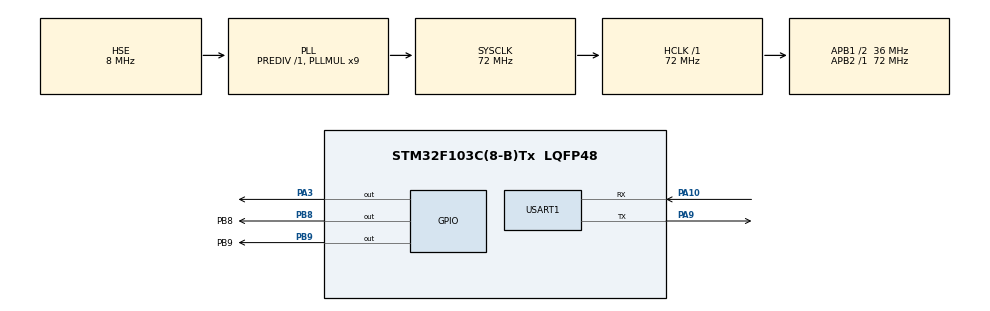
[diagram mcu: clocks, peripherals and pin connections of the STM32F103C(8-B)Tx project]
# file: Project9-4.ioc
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Mcu.Family=STM32F1
Mcu.Name=STM32F103C(8-B)Tx
Mcu.Package=LQFP48
NVIC.PriorityGroup=NVIC_PRIORITYGROUP_4
PA10.Mode=Asynchronous
PA10.Signal=USART1_RX
PA13.Mode=Serial_Wire
PA13.Signal=SYS_JTMS-SWDIO
PA14.Mode=Serial_Wire
PA14.Signal=SYS_JTCK-SWCLK
PA3.GPIO_Speed=GPIO_SPEED_FREQ_HIGH
PA3.Signal=GPIO_Output
PA9.Mode=Asynchronous
PA9.Signal=USART1_TX
PB8.GPIO_Label=PB8
PB8.Signal=GPIO_Output
PB9.GPIO_Label=PB9
PB9.Signal=GPIO_Output
PC14-OSC32_IN.Mode=LSE-External-Oscillator
PC14-OSC32_IN.Signal=RCC_OSC32_IN
PC15-OSC32_OUT.Mode=LSE-External-Oscillator
PC15-OSC32_OUT.Signal=RCC_OSC32_OUT
PD0-OSC_IN.Mode=HSE-External-Oscillator
PD0-OSC_IN.Signal=RCC_OSC_IN
PD1-OSC_OUT.Mode=HSE-External-Oscillator
PD1-OSC_OUT.Signal=RCC_OSC_OUT
ProjectManager.HeapSize=0x200
ProjectManager.StackSize=0x400
ProjectManager.TargetToolchain=MDK-ARM V5.32
RCC.AHBFreq_Value=72000000
RCC.APB1CLKDivider=RCC_HCLK_DIV2
RCC.APB1Freq_Value=36000000
RCC.APB1TimFreq_Value=72000000
RCC.APB2Freq_Value=72000000
RCC.APB2TimFreq_Value=72000000
RCC.HCLKFreq_Value=72000000
RCC.PLLMUL=RCC_PLL_MUL9
RCC.PLLSourceVirtual=RCC_PLLSOURCE_HSE
RCC.SYSCLKFreq_VALUE=72000000
RCC.SYSCLKSource=RCC_SYSCLKSOURCE_PLLCLK
RCC.USBFreq_Value=72000000
USART1.VirtualMode=VM_ASYNC
board=custom

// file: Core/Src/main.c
/* USER CODE BEGIN Header */
/**
  ******************************************************************************
  * @file           : main.c
  * @brief          : Main program body
  ******************************************************************************
  * @attention
  *
  * Copyright (c) 2025 STMicroelectronics.
  * All rights reserved.
  *
  * This software is licensed under terms that can be found in the LICENSE file
  * in the root directory of this software component.
  * If no LICENSE file comes with this software, it is provided AS-IS.
  *
  ******************************************************************************
  */
/* USER CODE END Header */
#include "main.h"
#include "usart.h"
#include "gpio.h"

/* USER CODE BEGIN Includes */
#include "OLED.h"
#include "uart_text.h"
#include <string.h>
/* USER CODE END Includes */

/* USER CODE BEGIN PD */
#define LED_PORT GPIOA
#define LED_PIN GPIO_PIN_3     // LED接在PA3
/* USER CODE END PD */

/* USER CODE BEGIN PV */
UartTextManager_t uartManager;       // 串口文本管理器
char rxBuffer[UART_MAX_TEXT_LEN];    // 接收缓冲区
char txBuffer[UART_MAX_TEXT_LEN];    // 发送缓冲区
uint8_t ledState = 0;                // LED状态标记
/* USER CODE END PV */

void SystemClock_Config(void);
/* USER CODE BEGIN PFP */
void Error_Handler(void);
void UpdateOLEDDisplay(void);
void ProcessReceivedData(const char* data);
/* USER CODE END PFP */

/* USER CODE BEGIN 0 */

/**
  * @brief UART接收完成回调函数
  */
void HAL_UART_RxCpltCallback(UART_HandleTypeDef *huart) {
    if (huart->Instance == USART1) {
        static uint8_t rxByte;  // 静态变量存储接收字节
        uint8_t packetReceived = 0;

        // 读取接收的字节（从缓冲区获取）
        rxByte = *huart->pRxBuffPtr;

        // 处理接收到的字节
        packetReceived = UART_ProcessTextByte(&uartManager, rxByte, rxBuffer);

        if (packetReceived) {
            // 1. 处理接收的数据（控制LED）
            ProcessReceivedData(rxBuffer);

            // 2. 回发接收到的数据
            strncpy(txBuffer, rxBuffer, UART_MAX_TEXT_LEN - 1);
            txBuffer[UART_MAX_TEXT_LEN - 1] = '\0';  // 确保字符串结束
            UART_SendTextPacket(&huart1, txBuffer);

            // 3. 更新OLED显示
            UpdateOLEDDisplay();
        }

        // 重新启动接收中断（关键：确保持续接收）
        HAL_UART_Receive_IT(&huart1, &rxByte, 1);
    }
}

/**
  * @brief 处理接收到的数据，控制LED
  * @param data: 接收到的字符串
  */
void ProcessReceivedData(const char* data) {
    if (data == NULL) return;

    // 严格比较字符串（忽略大小写问题）
    if (strcmp(data, "LED_YES") == 0) {
        HAL_GPIO_WritePin(LED_PORT, LED_PIN, GPIO_PIN_SET);  // LED亮
        ledState = 1;
    } else if (strcmp(data, "LED_NO") == 0) {
        HAL_GPIO_WritePin(LED_PORT, LED_PIN, GPIO_PIN_RESET);  // LED灭
        ledState = 0;
    }
}

/**
  * @brief 更新OLED显示内容
  */
void UpdateOLEDDisplay(void) {
    // 清除原有显示（防止字符残留）
    OLED_ShowString(2, 1, "                ");  // 清除第2行
    OLED_ShowString(4, 1, "                ");  // 清除第4行

    // 显示发送内容
    OLED_ShowString(1, 1, "Tx:");
    OLED_ShowString(2, 1, txBuffer);

    // 显示接收内容
    OLED_ShowString(3, 1, "Rx:");
    OLED_ShowString(4, 1, rxBuffer);
}

/* USER CODE END 0 */

int main(void)
{

  /* MCU Configuration--------------------------------------------------------*/

  /* Reset of all peripherals, Initializes the Flash interface and the Systick. */
  HAL_Init();

  /* Configure the system clock */
  SystemClock_Config();

  /* Initialize all configured peripherals */
  MX_GPIO_Init();
  MX_USART1_UART_Init();
  /* USER CODE BEGIN 2 */
  // 初始化OLED
  OLED_Init();
  OLED_Clear();

  // 初始化LED（确保初始状态为灭）
  HAL_GPIO_WritePin(LED_PORT, LED_PIN, GPIO_PIN_SET);

  // 初始化串口文本管理器
  UART_InitTextManager(&uartManager);

  // 初始显示
  OLED_ShowString(1, 1, "TxPacket:");
  OLED_ShowString(3, 1, "RxPacket:");
  OLED_ShowString(2, 1, "Ready...");

  // 启动串口接收中断（关键步骤）
  static uint8_t rxByte;
  if (HAL_UART_Receive_IT(&huart1, &rxByte, 1) != HAL_OK) {
      OLED_ShowString(4, 1, "UART Init Error");
      Error_Handler();
  }
  /* USER CODE END 2 */

  /* Infinite loop */
  while (1)
  {

  }
}

void SystemClock_Config(void)
{
  RCC_OscInitTypeDef RCC_OscInitStruct = {0};
  RCC_ClkInitTypeDef RCC_ClkInitStruct = {0};

  /** Initializes the RCC Oscillators according to the specified parameters
  * in the RCC_OscInitTypeDef structure.
  */
  RCC_OscInitStruct.OscillatorType = RCC_OSCILLATORTYPE_HSE;
  RCC_OscInitStruct.HSEState = RCC_HSE_ON;
  RCC_OscInitStruct.HSEPredivValue = RCC_HSE_PREDIV_DIV1;
  RCC_OscInitStruct.HSIState = RCC_HSI_ON;
  RCC_OscInitStruct.PLL.PLLState = RCC_PLL_ON;
  RCC_OscInitStruct.PLL.PLLSource = RCC_PLLSOURCE_HSE;
  RCC_OscInitStruct.PLL.PLLMUL = RCC_PLL_MUL9;
  if (HAL_RCC_OscConfig(&RCC_OscInitStruct) != HAL_OK)
  {
    Error_Handler();
  }

  /** Initializes the CPU, AHB and APB buses clocks
  */
  RCC_ClkInitStruct.ClockType = RCC_CLOCKTYPE_HCLK|RCC_CLOCKTYPE_SYSCLK
                              |RCC_CLOCKTYPE_PCLK1|RCC_CLOCKTYPE_PCLK2;
  RCC_ClkInitStruct.SYSCLKSource = RCC_SYSCLKSOURCE_PLLCLK;
  RCC_ClkInitStruct.AHBCLKDivider = RCC_SYSCLK_DIV1;
  RCC_ClkInitStruct.APB1CLKDivider = RCC_HCLK_DIV2;
  RCC_ClkInitStruct.APB2CLKDivider = RCC_HCLK_DIV1;

  if (HAL_RCC_ClockConfig(&RCC_ClkInitStruct, FLASH_LATENCY_2) != HAL_OK)
  {
    Error_Handler();
  }
}

void Error_Handler(void)
{
  /* USER CODE BEGIN Error_Handler_Debug */
  /* User can add his own implementation to report the HAL error return state */
  while(1)
  {
    // 错误时可以让LED闪烁提示
    HAL_GPIO_TogglePin(LED_PORT, LED_PIN);
    HAL_Delay(500);
  }
  /* USER CODE END Error_Handler_Debug */
}
